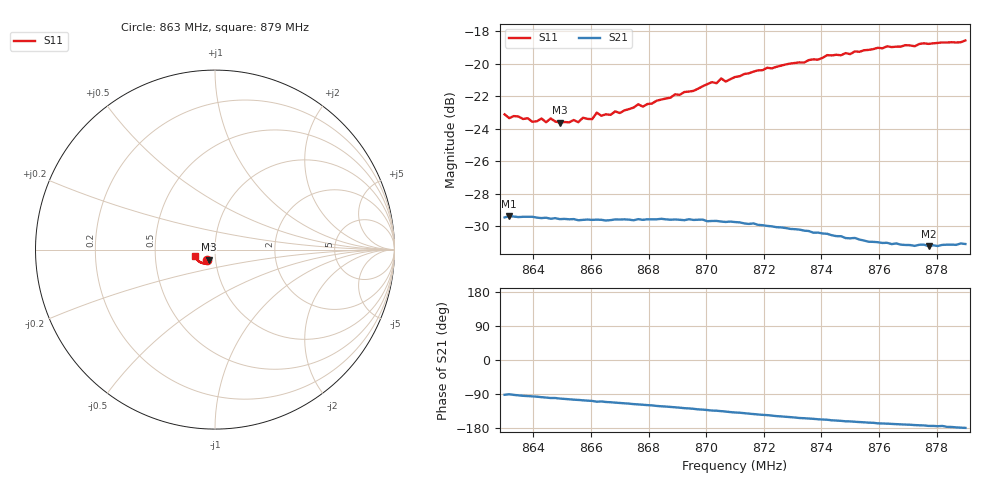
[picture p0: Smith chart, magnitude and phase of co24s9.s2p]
# HZ S RI R 50
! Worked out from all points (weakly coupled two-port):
!   101 points, 863 MHz to 879 MHz, reference 50 ohm
!   highest |S21| = -29.39 dB at 863.16 MHz (marker M1); lowest = -31.2 dB at 877.72 MHz (marker M2)
!   lowest |S11| = -23.6 dB at 864.92 MHz (marker M3), VSWR 1.14, Z = 46.3 - j5.16 ohm
!   |S11| at or under -10 dB: start of sweep to end of sweep
!   S12 and S22 are empty: the file has one direction only
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8.63e8  -0.0427 -0.0553  -0.00102 -0.0336  0 0  0 0
8.6316e8  -0.0407 -0.0545  -0.000252 -0.0339  0 0  0 0
8.6348e8  -0.0412 -0.0551  -0.00194 -0.0337  0 0  0 0
8.6396e8  -0.038 -0.0543  -0.00352 -0.0336  0 0  0 0
8.6428e8  -0.0376 -0.0565  -0.0047 -0.0331  0 0  0 0
8.6444e8  -0.0363 -0.0552  -0.00531 -0.0331  0 0  0 0
8.646e8  -0.0371 -0.0568  -0.00596 -0.0328  0 0  0 0
8.6492e8  -0.0356 -0.0554  -0.00675 -0.0325  0 0  0 0
8.6556e8  -0.0341 -0.0566  -0.00874 -0.0318  0 0  0 0
8.6572e8  -0.0337 -0.0593  -0.00932 -0.0317  0 0  0 0
8.6604e8  -0.0325 -0.0592  -0.0102 -0.0314  0 0  0 0
8.662e8  -0.0368 -0.0604  -0.0113 -0.0311  0 0  0 0
8.6636e8  -0.034 -0.0603  -0.011 -0.0312  0 0  0 0
8.67e8  -0.0332 -0.0622  -0.0131 -0.0304  0 0  0 0
8.6844e8  -0.0364 -0.0685  -0.0177 -0.0282  0 0  0 0
8.7052e8  -0.0475 -0.0766  -0.0231 -0.0231  0 0  0 0
8.7068e8  -0.0468 -0.0747  -0.0234 -0.0226  0 0  0 0
8.71e8  -0.0497 -0.0763  -0.0244 -0.0216  0 0  0 0
8.7372e8  -0.0705 -0.0754  -0.0274 -0.0126  0 0  0 0
8.7644e8  -0.0948 -0.0608  -0.0273 -0.00547  0 0  0 0
8.7772e8  -0.1036 -0.0503  -0.0273 -0.00291  0 0  0 0
8.79e8  -0.1121 -0.0371  -0.0278 -0.000399  0 0  0 0
